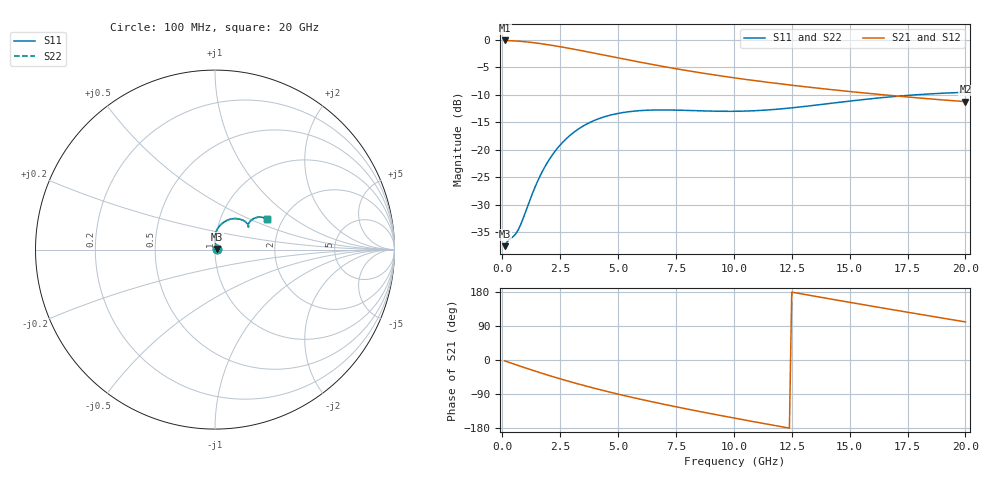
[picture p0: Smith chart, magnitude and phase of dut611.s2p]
! Touchstone file exported from HFSS 2024.1.0
!  File:  C:/UserFiles/LocalFiles/RDL_TSV_Batchsim/temp_RDL_TSV_611_1779799468.aedt
!  Generated:  09:01:56 PM May 26, 2026
!  Design:  RDL_TSV
!  Project:  temp_RDL_TSV_611_1779799468
!  Setup:  Setup1
!  Solution:  Sweep
! Variables:
!  dtsv = 7.63um
!  hbump = 3um
!  htsv = 82.94um
!  ldown = 524.15um
!  lrdl = 578.17um
!  p = 40
!  p1 = 52.72um
!  rhole = 10um
!  subl = 3885.13um
!  t = 450um
!  tdown = 4.54um
!  trdl = 4.86um
!  viad = 10um
!  wdown = 28.58um
!  wrdl = 23.93um
!  xbump = 18um
# GHz S MA R 50.000000
! Terminal data exported
! Port[1] = TM1_1_T1
! Port[2] = TM1_4_T1
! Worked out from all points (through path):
!   200 points, 100 MHz to 20 GHz, reference 50 ohm
!   highest |S21| = -0.12 dB at 100 MHz (marker M1); lowest = -11.2 dB at 20 GHz (marker M2)
!   group delay of S21, straight-line fit = 34.2 ps
!   lowest |S11| = -37.5 dB at 100 MHz (marker M3), VSWR 1.03, Z = 51.3 + j0.316 ohm
!   |S11| at or under -10 dB: start of sweep to 17.85 GHz
!   |S22| runs from -37.5 to -9.5 dB; largest |S21 - S12| = 8.2e-15
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0.1  0.01332 13.4  0.9866 -2.2  0.9866 -2.2  0.01332 13.4
! Gamma 0 0 0 0
! Port Impedance 50 0 50 0
0.2  0.01452 21.6  0.9849 -4.3  0.9849 -4.3  0.01452 21.6
0.5  0.01649 43.2  0.9783 -10.6  0.9783 -10.6  0.01648 43.2
0.7  0.01895 60.1  0.9721 -14.8  0.9721 -14.8  0.01894 60.2
1.5  0.05046 91.1  0.9332 -31.0  0.9332 -31.0  0.05052 91.2
1.8  0.06776 91.1  0.9143 -36.8  0.9143 -36.8  0.06786 91.2
2.1  0.08609 88.9  0.894 -42.4  0.894 -42.4  0.08623 89.0
2.7  0.1226 81.8  0.8508 -53.3  0.8508 -53.3  0.1228 81.8
3.5  0.165 70.9  0.7913 -66.9  0.7913 -66.9  0.1654 70.9
4.2  0.1931 61.9  0.7403 -78.1  0.7403 -78.1  0.1936 62.0
5.1  0.2163 52.1  0.6788 -91.5  0.6788 -91.5  0.217 52.2
5.9  0.2268 45.3  0.6293 -102.7  0.6293 -102.7  0.2275 45.3
6.8  0.2305 39.6  0.58 -114.6  0.58 -114.6  0.2313 39.6
7.6  0.2295 36.3  0.5415 -124.7  0.5415 -124.7  0.2303 36.3
8.4  0.2268 34.5  0.5078 -134.4  0.5078 -134.4  0.2277 34.6
10.1  0.2242 34.7  0.4488 -154.2  0.4488 -154.2  0.225 34.7
11.7  0.2324 37.1  0.4053 -172.2  0.4053 -172.2  0.2333 37.0
13.4  0.2528 38.9  0.368 169.3  0.368 169.3  0.2537 38.8
15.1  0.2789 38.6  0.3373 151.1  0.3373 151.1  0.2798 38.5
16.7  0.3023 36.7  0.313 134.4  0.313 134.4  0.3032 36.6
18.3  0.3209 33.9  0.2925 117.9  0.2925 117.9  0.3218 33.8
20  0.3335 30.6  0.2742 100.6  0.2742 100.6  0.3346 30.5
